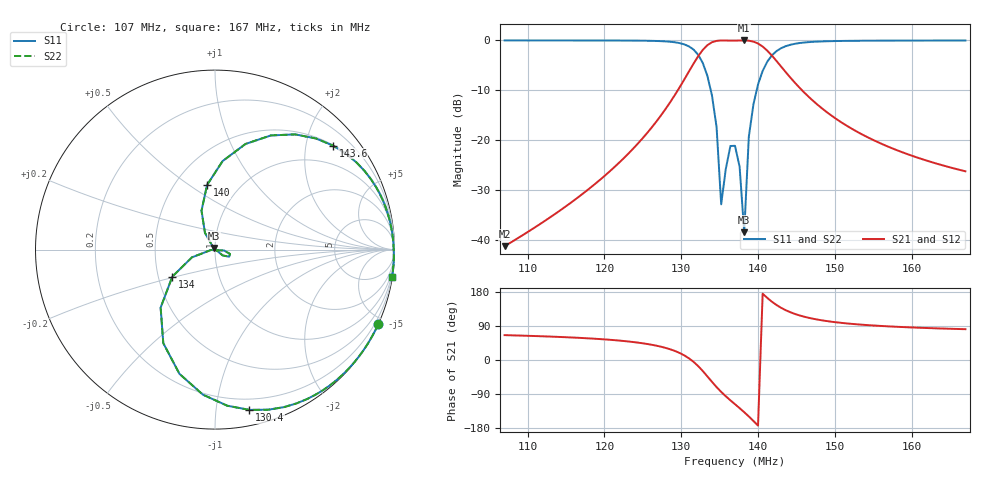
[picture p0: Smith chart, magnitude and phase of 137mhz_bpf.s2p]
# HZ S RI R 50
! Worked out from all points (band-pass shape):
!   101 points, 107 MHz to 167 MHz, reference 50 ohm
!   highest |S21| = 0.00 dB at 138.2 MHz (marker M1); lowest = -41.2 dB at 107 MHz (marker M2)
!   |S21| within 3 dB of the highest: 132.3 MHz to 141.8 MHz (9.504 MHz wide, 6.94 % of centre)
!   lowest |S11| = -38.4 dB at 138.2 MHz (marker M3), VSWR 1.02, Z = 49.2 + j0.872 ohm
!   |S11| at or under -10 dB: 133.8 MHz to 139.8 MHz (5.974 MHz wide, 4.37 % of centre)
!   |S22| runs from -38.4 to 0.0 dB; largest |S21 - S12| = 0
!   S11 on the Smith chart (normalised r, x): 107 MHz: 0.00, -4.62; 130.4 MHz: 0.11, -1.23; 134 MHz: 0.59, -0.19; 140 MHz: 0.71, +0.59; 143.6 MHz: 0.51, +2.55; 167 MHz: 0, -13
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1.07e8  0.9106 -0.4132  0.00359 0.00791  0.00359 0.00791  0.9106 -0.4132
1.172e8  0.847 -0.5309  0.0155 0.0247  0.0155 0.0247  0.847 -0.5309
1.232e8  0.7489 -0.6584  0.0493 0.056  0.0493 0.056  0.7489 -0.6584
1.274e8  0.5626 -0.8071  0.1469 0.1024  0.1469 0.1024  0.5626 -0.8071
1.304e8  0.1921 -0.893  0.3979 0.0856  0.3979 0.0856  0.1921 -0.893
1.316e8  -0.068 -0.8078  0.5834 -0.0491  0.5834 -0.0491  -0.068 -0.8078
1.328e8  -0.2881 -0.5211  0.7031 -0.3887  0.7031 -0.3887  -0.2881 -0.5211
1.34e8  -0.2378 -0.1508  0.5137 -0.8104  0.5137 -0.8104  -0.2378 -0.1508
1.346e8  -0.1288 -0.0432  0.3151 -0.9393  0.3151 -0.9393  -0.1288 -0.0432
1.352e8  -0.0227 -0.00233  0.1022 -0.9945  0.1022 -0.9945  -0.0227 -0.00233
1.364e8  0.084 -0.0247  -0.281 -0.9557  -0.281 -0.9557  0.084 -0.0247
1.37e8  0.0786 -0.0395  -0.4476 -0.8899  -0.4476 -0.8899  0.0786 -0.0395
1.376e8  0.0434 -0.0327  -0.6014 -0.7971  -0.6014 -0.7971  0.0434 -0.0327
1.382e8  -0.00805 0.00886  -0.74 -0.6724  -0.74 -0.6724  -0.00805 0.00886
1.388e8  -0.0558 0.093  -0.8523 -0.5117  -0.8523 -0.5117  -0.0558 0.093
1.394e8  -0.0751 0.2166  -0.9196 -0.3189  -0.9196 -0.3189  -0.0751 0.2166
1.4e8  -0.0442 0.3603  -0.9249 -0.1134  -0.9249 -0.1134  -0.0442 0.3603
1.418e8  0.3117 0.6361  -0.6339 0.3106  -0.6339 0.3106  0.3117 0.6361
1.436e8  0.6567 0.58  -0.3191 0.3613  -0.3191 0.3613  0.6567 0.58
1.472e8  0.9176 0.3114  -0.0794 0.2339  -0.0794 0.2339  0.9176 0.3114
1.574e8  0.9961 -0.0292  0.00244 0.0834  0.00244 0.0834  0.9961 -0.0292
1.67e8  0.9873 -0.1509  0.00738 0.0483  0.00738 0.0483  0.9873 -0.1509
